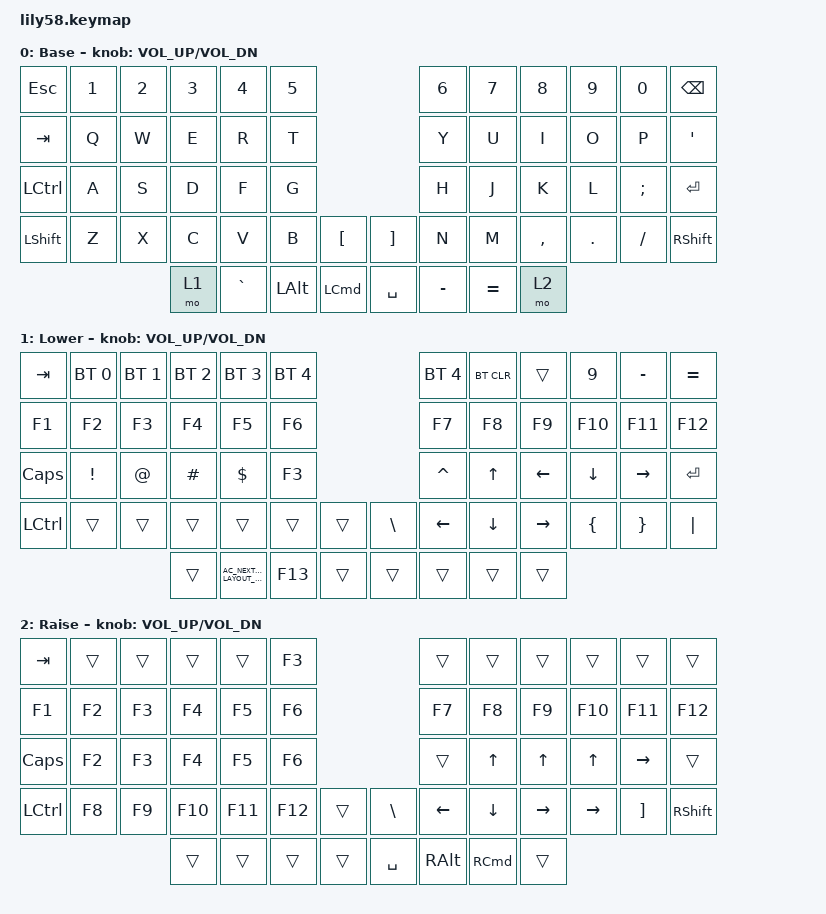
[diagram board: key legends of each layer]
/*
 * Copyright (c) 2020 The ZMK Contributors
 *
 * SPDX-License-Identifier: MIT
 */

#include <behaviors.dtsi>
#include <dt-bindings/zmk/bt.h>
#include <dt-bindings/zmk/keys.h>

/ {
    keymap {
        compatible = "zmk,keymap";

        default_layer {
            // ------------------------------------------------------------------------------------------------------------
            // |  ESC  |  1  |  2  |  3   |  4   |  5   |                   |  6   |  7    |  8    |  9   |   0   |   `   |
            // |  TAB  |  Q  |  W  |  E   |  R   |  T   |                   |  Y   |  U    |  I    |  O   |   P   |   -   |
            // |  CTRL |  A  |  S  |  D   |  F   |  G   |                   |  H   |  J    |  K    |  L   |   ;   |   '   |
            // | SHIFT |  Z  |  X  |  C   |  V   |  B   |   "["  |  |  "]"  |  N   |  M    |  ,    |  .   |   /   | SHIFT |
            //                     | ALT  | GUI  | LOWER|  SPACE |  | ENTER | RAISE| BSPC  | GUI   |

            display-name = "Base";
            bindings = <
&kp ESC           &kp N1  &kp N2  &kp N3  &kp N4     &kp N5                                       &kp N6     &kp N7     &kp N8     &kp N9   &kp NUMBER_0  &kp BACKSPACE
&kp TAB           &kp Q   &kp W   &kp E   &kp R      &kp T                                        &kp Y      &kp U      &kp I      &kp O    &kp P         &kp APOSTROPHE
&kp LEFT_CONTROL  &kp A   &kp S   &kp D   &kp F      &kp G                                        &kp H      &kp J      &kp K      &kp L    &kp SEMI      &kp ENTER
&kp LEFT_SHIFT    &kp Z   &kp X   &kp C   &kp V      &kp B         &kp LBKT            &kp RBKT   &kp N      &kp M      &kp COMMA  &kp DOT  &kp FSLH      &kp RSHFT
                                  &mo 1   &kp GRAVE  &kp LEFT_ALT  &kp LEFT_COMMAND    &kp SPACE  &kp MINUS  &kp EQUAL  &mo 2
            >;

            sensor-bindings = <&inc_dec_kp C_VOL_UP C_VOL_DN>;
        };

        lower_layer {
            // ------------------------------------------------------------------------------------------------------------
            // | BTCLR | BT1 | BT2 |  BT3 |  BT4 |  BT5 |                   |      |       |       |      |       |       |
            // |  F1   |  F2 |  F3 |  F4  |  F5  |  F6  |                   |  F7  |  F8   |  F9   |  F10 |  F11  |  F12  |
            // |   `   |  !  |  @  |  #   |  $   |  %   |                   |  ^   |  &    |  *    |  (   |   )   |   ~   |
            // |       |     |     |      |      |      |        |  |       |      |  _    |  +    |  {   |   }   |  "|"  |
            //                     |      |      |      |        |  |       |      |       |       |

            display-name = "Lower";
            bindings = <
&kp TAB           &bt BT_SEL 0  &bt BT_SEL 1  &bt BT_SEL 2  &bt BT_SEL 3                          &bt BT_SEL 4                           &bt BT_SEL 4    &bt BT_CLR    &trans           &kp NUMBER_9  &kp MINUS  &kp EQUAL
&kp F1            &kp F2        &kp F3        &kp F4        &kp F5                                &kp F6                                 &kp F7          &kp F8        &kp F9           &kp F10       &kp F11    &kp F12
&kp CAPSLOCK      &kp EXCL      &kp AT        &kp HASH      &kp DOLLAR                            &kp F3                                 &kp CARET       &kp UP_ARROW  &kp LEFT         &kp DOWN      &kp RIGHT  &kp ENTER
&kp LEFT_CONTROL  &trans        &trans        &trans        &trans                                &trans        &trans    &kp BACKSLASH  &kp LEFT_ARROW  &kp DOWN      &kp RIGHT_ARROW  &kp LBRC      &kp RBRC   &kp PIPE
                                              &trans        &kp C_AC_NEXT_KEYBOARD_LAYOUT_SELECT  &kp F13       &trans    &trans         &trans          &trans        &trans
            >;

            sensor-bindings = <&inc_dec_kp C_VOL_UP C_VOL_DN>;
        };

        raise_layer {
            // ------------------------------------------------------------------------------------------------------------
            // |       |     |     |      |      |      |                   |      |       |       |      |       |       |
            // |   `   |  1  |  2  |  3   |  4   |  5   |                   |  6   |   7   |   8   |  9   |   0   |       |
            // |   F1  |  F2 |  F3 |  F4  |  F5  |  F6  |                   |      |   <-  |   v   |  ^   |  ->   |       |
            // |   F7  |  F8 |  F9 |  F10 |  F11 |  F12 |        |  |       |  +   |   -   |   =   |  [   |   ]   |   \   |
            //                     |      |      |      |        |  |       |      |       |       |

            display-name = "Raise";
            bindings = <
&kp TAB           &trans  &trans  &trans   &trans   &kp F3                            &trans          &trans             &trans           &trans           &trans     &trans
&kp F1            &kp F2  &kp F3  &kp F4   &kp F5   &kp F6                            &kp F7          &kp F8             &kp F9           &kp F10          &kp F11    &kp F12
&kp CAPSLOCK      &kp F2  &kp F3  &kp F4   &kp F5   &kp F6                            &trans          &kp UP             &kp UP_ARROW     &kp UP           &kp RIGHT  &trans
&kp LEFT_CONTROL  &kp F8  &kp F9  &kp F10  &kp F11  &kp F12  &trans    &kp BACKSLASH  &kp LEFT_ARROW  &kp DOWN_ARROW     &kp RIGHT_ARROW  &kp RIGHT_ARROW  &kp RBKT   &kp RIGHT_SHIFT
                                  &trans   &trans   &trans   &trans    &kp SPACE      &kp RIGHT_ALT   &kp RIGHT_COMMAND  &trans
            >;

            sensor-bindings = <&inc_dec_kp C_VOL_UP C_VOL_DN>;
        };

        extra_1 {
            status = "reserved";
            sensor-bindings = <&inc_dec_kp 0 0>;
        };

        extra_2 { status = "reserved"; };

        extra_3 { status = "reserved"; };
    };
};
